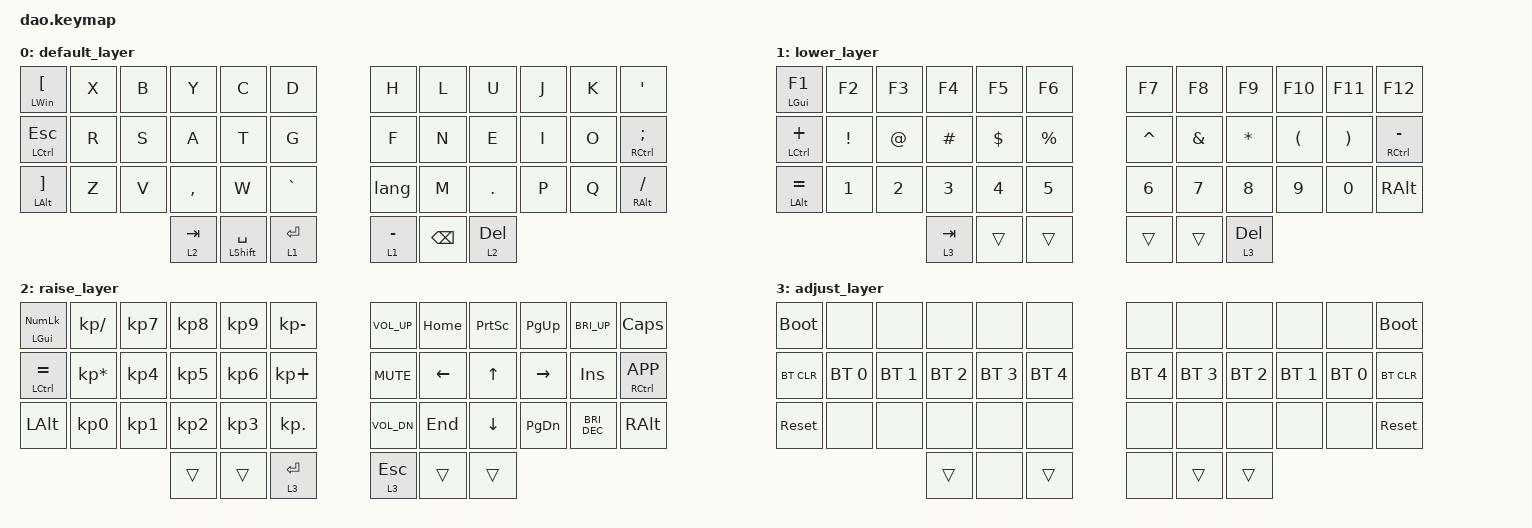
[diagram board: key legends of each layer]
/*
 * Copyright (c) 2021 Rafael Yumagulov
 *
 * SPDX-License-Identifier: MIT
 */

#include <behaviors.dtsi>
#include <dt-bindings/zmk/bt.h>
#include <dt-bindings/zmk/keys.h>

#define DEF 0
#define LWR 1
#define RSE 2
#define ADJ 3

&lt {
    quick_tap_ms = <200>;
};

&mt {
    quick_tap_ms = <200>;
};

/ {
    chosen {
        zmk,matrix_transform = &default_transform;

        // zmk,matrix_transform = &extra_keys_transform;
    };
};

/ {
    combos {
        compatible = "zmk,combos";

        spc1 {
            bindings = <&none>;
            key-positions = <>;
        };
    };

    macros {
        spc1: spc1 {
            compatible = "zmk,behavior-macro";
            #binding-cells = <0>;
            bindings = <&none>, <&macro_tap>, <&kp SPACE &kp N1>;

            label = "SPC1";
        };
        spc2: spc2 {
            compatible = "zmk,behavior-macro";
            #binding-cells = <0>;
            bindings = <&none>, <&macro_tap>, <&kp SPACE &kp NUMBER_2>;

            label = "SPC2";
        };
        lang: lang {
            compatible = "zmk,behavior-macro";
            #binding-cells = <0>;
            bindings = <&kp LA(LEFT_SHIFT)>;
            label = "LANG";
        };
    };

    keymap {
        compatible = "zmk,keymap";

        default_layer {
            bindings = <
&mt LEFT_WIN LBKT       &kp X  &kp B  &kp Y      &kp C            &kp D        &kp H        &kp L          &kp U      &kp J  &kp K  &kp SQT
&mt LCTRL ESC           &kp R  &kp S  &kp A      &kp T            &kp G        &kp F        &kp N          &kp E      &kp I  &kp O  &mt RCTRL SEMICOLON
&mt LALT RIGHT_BRACKET  &kp Z  &kp V  &kp COMMA  &kp W            &kp GRAVE    &lang        &kp M          &kp DOT    &kp P  &kp Q  &mt RALT SLASH
                                      &lt 2 TAB  &mt LSHFT SPACE  &lt 1 RET    &lt 1 MINUS  &kp BACKSPACE  &lt 2 DEL
            >;
        };

        lower_layer {
            bindings = <
&mt LGUI F1     &kp F2    &kp F3  &kp F4     &kp F5    &kp F6       &kp F7     &kp F8    &kp F9     &kp F10   &kp F11   &kp F12
&mt LCTRL PLUS  &kp EXCL  &kp AT  &kp HASH   &kp DLLR  &kp PRCNT    &kp CARET  &kp AMPS  &kp STAR   &kp LPAR  &kp RPAR  &mt RCTRL MINUS
&mt LALT EQUAL  &kp N1    &kp N2  &kp N3     &kp N4    &kp N5       &kp N6     &kp N7    &kp N8     &kp N9    &kp N0    &kp RALT
                                  &lt 3 TAB  &trans    &trans       &trans     &trans    &lt 3 DEL
            >;
        };

        raise_layer {
            bindings = <
&mt LGUI KP_NUM  &kp KP_SLASH     &kp KP_N7  &kp KP_N8  &kp KP_N9  &kp KP_MINUS    &kp C_VOL_UP  &kp HOME  &kp PSCRN  &kp PG_UP  &kp C_BRI_UP   &kp CLCK
&mt LCTRL EQUAL  &kp KP_MULTIPLY  &kp KP_N4  &kp KP_N5  &kp KP_N6  &kp KP_PLUS     &kp C_MUTE    &kp LEFT  &kp UP     &kp RIGHT  &kp INS        &mt RCTRL K_APP
&kp LALT         &kp KP_N0        &kp KP_N1  &kp KP_N2  &kp KP_N3  &kp KP_DOT      &kp C_VOL_DN  &kp END   &kp DOWN   &kp PG_DN  &kp C_BRI_DEC  &kp RALT
                                             &trans     &trans     &lt 3 RET       &lt 3 ESC     &trans    &trans
            >;
        };

        adjust_layer {
            bindings = <
&bootloader  &none         &none         &none         &none         &none           &none         &none         &none         &none         &none         &bootloader
&bt BT_CLR   &bt BT_SEL 0  &bt BT_SEL 1  &bt BT_SEL 2  &bt BT_SEL 3  &bt BT_SEL 4    &bt BT_SEL 4  &bt BT_SEL 3  &bt BT_SEL 2  &bt BT_SEL 1  &bt BT_SEL 0  &bt BT_CLR
&sys_reset   &none         &none         &none         &none         &none           &none         &none         &none         &none         &none         &sys_reset
                                         &trans        &none         &trans          &none         &trans        &trans
            >;
        };
    };
};
